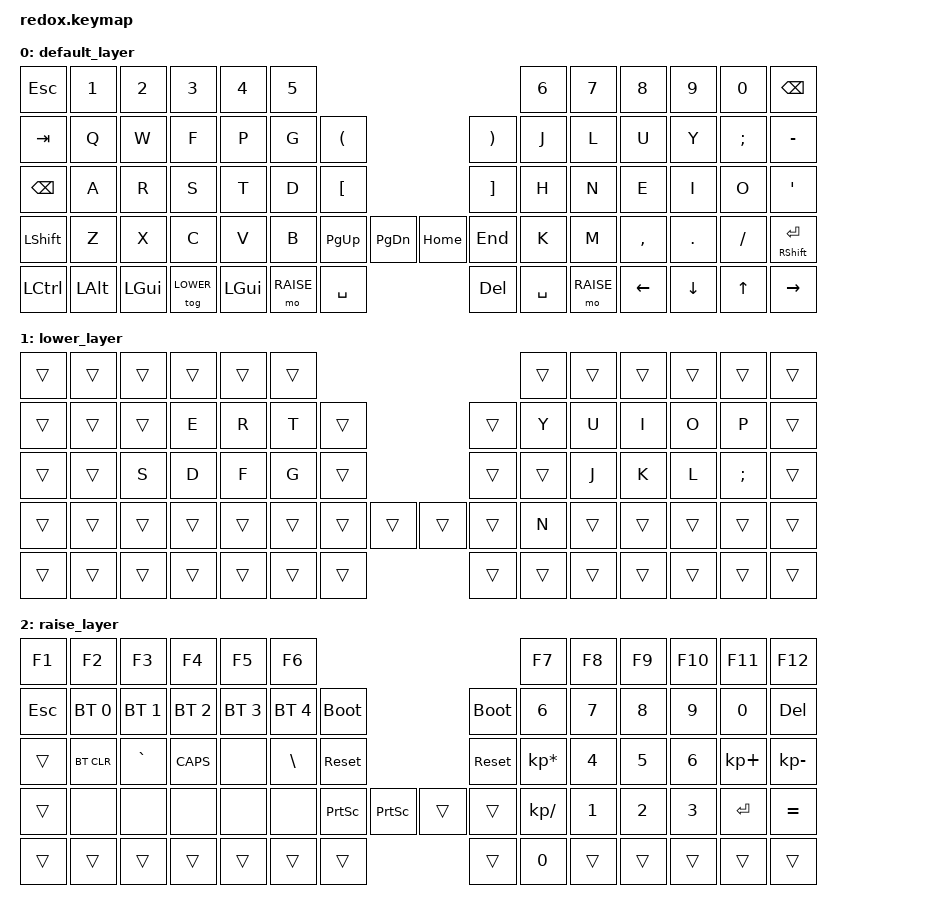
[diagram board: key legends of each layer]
#include <behaviors.dtsi>
#include <dt-bindings/zmk/keys.h>

#define DEFAULT 0
#define LOWER 1
#define RAISE 2

/ {
    keymap {
        compatible =  "zmk,keymap" ;

        default_layer {
// --------------------------------------------------------------------------------------------------------------------------------
// | ESC   |  1  |  2  |   3   |  4  |  5  |                   ---                |  6    |  7    |  8    |  9   | 0  |    BKSP   |
// | TAB   |  Q  |  W  |   F   |  P  |  G  |   (   |           ---        |  )    |  J    |  L    |  U    |  Y   | ;  |     -     |
// | BKSP  |  A  |  R  |   S   |  T  |  D  |   [   |           ---        |  ]    |  H    |  N    |  E    |  I   | O  |     '     |
// | SHIFT |  Z  |  X  |   C   |  V  |  B  | PG_UP | PG_DOWN | --- | HOME | END   |  K    |  M    |  ,    |  .   | /  | SHFT(RET) |
// | CRTL  | ALT | GUI | LOWER |    GUI    | RAISE | SPACE   | --- | DEL  | SPACE |     RAISE     | LEFT  | DOWN | UP |   RIGHT   |
            bindings = <
   &kp ESC   &kp N1   &kp N2   &kp N3 &kp N4   &kp N5                                        &kp N6    &kp N7 &kp N8    &kp N9   &kp N0   &kp BSPC
   &kp TAB   &kp Q    &kp W    &kp F  &kp P    &kp G  &kp LPAR                     &kp RPAR  &kp J     &kp L  &kp U     &kp Y    &kp SEMI &kp MINUS
   &kp BSPC  &kp A    &kp R    &kp S  &kp T    &kp D  &kp LBKT                     &kp RBKT  &kp H     &kp N  &kp E     &kp I    &kp O    &kp SQT
   &kp LSHFT &kp Z    &kp X    &kp C  &kp V    &kp B  &kp PG_UP &kp PG_DN &kp HOME &kp END   &kp K     &kp M  &kp COMMA &kp DOT  &kp FSLH &mt RSHFT RET
   &kp LCTRL &kp LALT &kp LGUI &tog LOWER &kp LGUI    &mo RAISE &kp SPACE &kp DEL  &kp SPACE       &mo RAISE  &kp LEFT  &kp DOWN &kp UP   &kp RIGHT
            >;

        };

        lower_layer {
// --------------------------------------------------------------------------------------------------------------------------------
// | ESC   |  1  |  2  |   3   |  4  |  5  |                   ---                |  6    |  7    |  8    |  9   | 0  |    BKSP   |
// | TAB   |  Q  |  W  |   E   |  R  |  T  |   (   |           ---        |  )    |  Y    |  U    |  I    |  O   | P  |     -     |
// | BKSP  |  A  |  S  |   D   |  F  |  G  |   [   |           ---        |  ]    |  H    |  J    |  K    |  L   | ;  |     '     |
// | SHIFT |  Z  |  X  |   C   |  V  |  B  | PG_UP | PG_DOWN | --- | HOME | END   |  N    |  M    |  ,    |  .   | /  | SHFT(RET) |
// | CRTL  | ALT | GUI | LOWER |    GUI    | RAISE | SPACE   | --- | DEL  | SPACE |     RAISE     | LEFT  | DOWN | UP |   RIGHT   |
            bindings = <
   &trans    &trans   &trans   &trans &trans   &trans                                        &trans    &trans &trans    &trans   &trans   &trans
   &trans    &trans   &trans   &kp E  &kp R    &kp T  &trans                       &trans    &kp Y     &kp U  &kp I     &kp O    &kp P    &trans
   &trans    &trans   &kp S    &kp D  &kp F    &kp G  &trans                       &trans    &trans    &kp J  &kp K     &kp L    &kp SEMI &trans
   &trans    &trans   &trans   &trans &trans   &trans &trans    &trans    &trans   &trans    &kp N     &trans &trans    &trans   &trans   &trans
   &trans    &trans   &trans   &trans     &trans      &trans    &trans    &trans   &trans          &trans     &trans    &trans   &trans   &trans
            >;

        };

        raise_layer {
// --------------------------------------------------------------------------------------------------------------------------
// | F1    |   F2  |  F3 |   F4  |   F5  |  F6 |                   ---                |   F7  |  F8 |   F9 |  F10 | F11 |  F12  |
// | ESC   |  BT1  | BT2 |  BT3  |  BT4  | BT5 | BOOTL |           ---        | BOOTL |   6   |  7  |   8  |  9   |  0  |  DEL  |
// | BKSP  | BTCLR |  `  | CAPS  |       |  \  | RESET |           ---        | RESET |   *   |  4  |   5  |  6   |  +  |   -   |
// | SHIFT |       |     |       |       |     | PSCRN |  PSCRN  | --- | HOME |  END  |   /   |  1  |   2  |  3   | RET |   =   |
// | CRTL  |  ALT  | GUI | LOWER |     GUI     | RAISE |  SPACE  | --- | DEL  |   0   |    RAISE    | LEFT | DOWN | UP  | RIGHT |
            bindings = <
   &kp F1  &kp F2       &kp F3       &kp F4       &kp F5       &kp F6                                              &kp F7          &kp F8    &kp F9    &kp F10   &kp F11     &kp F12
   &kp ESC &bt BT_SEL 0 &bt BT_SEL 1 &bt BT_SEL 2 &bt BT_SEL 3 &bt BT_SEL 4 &bootloader                &bootloader &kp N6          &kp N7    &kp N8    &kp N9    &kp N0      &kp DEL
   &trans  &bt BT_CLR   &kp GRAVE    &CAPS        &none        &kp BSLH     &sys_reset                 &sys_reset  &kp KP_MULTIPLY &kp N4    &kp N5    &kp N6    &kp KP_PLUS &kp KP_MINUS
   &trans  &none        &none        &none        &none        &none        &kp PSCRN &kp PSCRN &trans &trans      &kp KP_DIVIDE   &kp N1    &kp N2    &kp N3    &kp RET     &kp EQUAL
   &trans  &trans       &trans       &trans              &trans             &trans    &trans    &trans &kp N0             &trans             &trans    &trans    &trans      &trans
            >;

        };
    };
};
